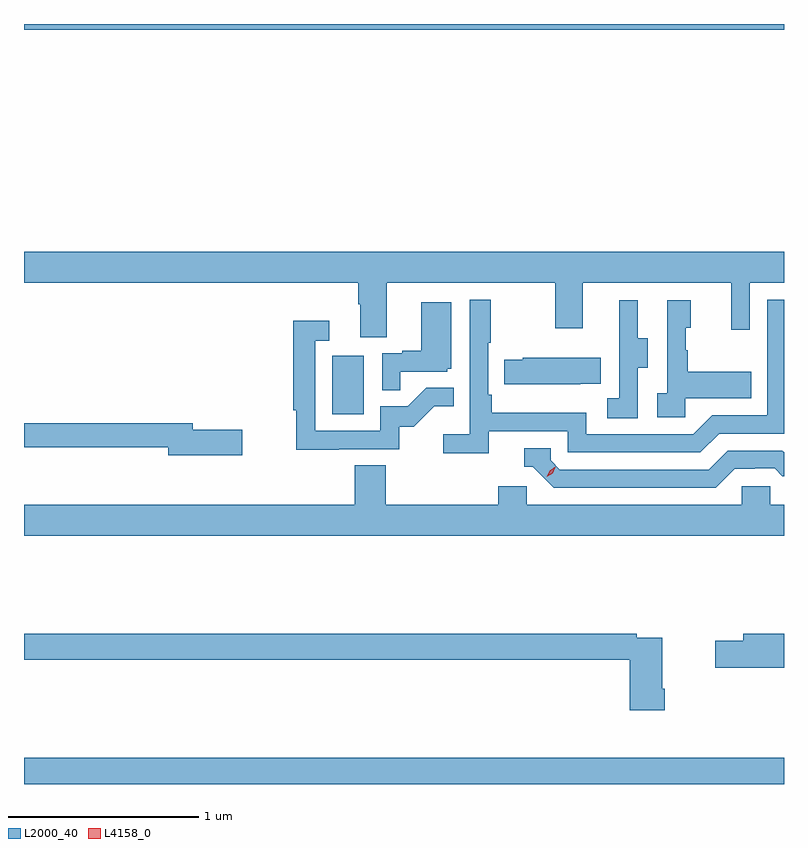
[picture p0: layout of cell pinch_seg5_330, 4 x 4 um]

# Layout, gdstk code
import gdstk
lib = gdstk.Library(unit=1e-6, precision=1e-09)
def R(c, l, rs):  # rectangles x0, y0, x1, y1
    for r in rs: c.add(gdstk.rectangle(r[:2], r[2:], *l))
def P(c, l, *ps):  # polygons
    for p in ps: c.add(gdstk.Polygon(p, *l))
L2000_40 = (2000, 40)
L4158_0 = (4158, 0)

pinch_seg5_330 = lib.new_cell('pinch_seg5_330')
R(pinch_seg5_330, L2000_40, [(921.161,875.434,925.161,875.572), (922.784,877.38,922.948,877.687), (921.161,879.404,925.161,879.434)])
P(pinch_seg5_330, L2000_40, [(923.071,878.072),(923.956,878.072),(923.956,877.833),(924.103,877.833),(924.103,878.072),(924.884,878.072),(924.884,877.824),(924.981,877.824),(924.981,878.072),(925.161,878.072),(925.161,878.236),(921.161,878.236),(921.161,878.072),(922.919,878.072),(922.919,877.96),(922.931,877.96),(922.931,877.786),(923.071,877.786)],
  [(923.606,877.29),(924.024,877.29),(924.024,877.179),(924.721,877.179),(924.82,877.278),(925.161,877.278),(925.161,877.983),(925.074,877.983),(925.074,877.374),(924.783,877.374),(924.684,877.275),(924.12,877.275),(924.12,877.387),(923.624,877.387),(923.624,877.483),(923.604,877.483),(923.604,877.756),(923.617,877.756),(923.617,877.984),(923.508,877.984),(923.508,877.276),(923.367,877.276),(923.367,877.174),(923.606,877.174)],
  [(924.642,877.463),(924.989,877.463),(924.989,877.603),(924.655,877.603),(924.655,877.718),(924.645,877.718),(924.645,877.836),(924.67,877.836),(924.67,877.981),(924.546,877.981),(924.546,877.49),(924.495,877.49),(924.495,877.365),(924.642,877.365)],
  [(924.39,877.624),(924.445,877.624),(924.445,877.779),(924.391,877.779),(924.391,877.981),(924.293,877.981),(924.293,877.767),(924.294,877.767),(924.294,877.463),(924.231,877.463),(924.231,877.36),(924.39,877.36)],
  [(923.141,877.605),(923.388,877.605),(923.388,877.62),(923.41,877.62),(923.41,877.969),(923.252,877.969),(923.252,877.714),(923.153,877.714),(923.153,877.701),(923.046,877.701),(923.046,877.507),(923.141,877.507)],
  [(922.817,877.197),(923.136,877.197),(923.136,877.314),(923.212,877.314),(923.319,877.421),(923.423,877.421),(923.423,877.52),(923.279,877.52),(923.181,877.422),(923.037,877.422),(923.037,877.293),(922.695,877.293),(922.695,877.767),(922.768,877.767),(922.768,877.873),(922.579,877.873),(922.579,877.4),(922.594,877.4),(922.594,877.192),(922.817,877.192)],
  [(924.089,877.541),(924.197,877.541),(924.197,877.678),(923.787,877.678),(923.787,877.668),(923.689,877.668),(923.689,877.538),(924.089,877.538)],
  [(922.309,877.298),(922.048,877.298),(922.048,877.334),(921.161,877.334),(921.161,877.206),(921.92,877.206),(921.92,877.163),(922.309,877.163)],
  [(924.901,877.092),(925.008,877.092),(925.008,877.095),(925.111,877.095),(925.153,877.053),(925.161,877.053),(925.161,877.18),(925.153,877.188),(924.864,877.188),(924.765,877.089),(923.982,877.089),(923.934,877.137),(923.934,877.2),(923.795,877.2),(923.795,877.104),(923.838,877.104),(923.949,876.993),(924.802,876.993)],
  [(925.161,876.904),(925.089,876.904),(925.089,877.002),(924.939,877.002),(924.939,876.904),(923.808,876.904),(923.808,877.002),(923.657,877.002),(923.657,876.904),(923.066,876.904),(923.066,877.112),(922.901,877.112),(922.901,876.904),(921.161,876.904),(921.161,876.74),(925.161,876.74)],
  [(925.161,876.224),(924.947,876.224),(924.947,876.188),(924.798,876.188),(924.798,876.046),(925.161,876.046)],
  [(924.533,875.935),(924.52,875.935),(924.52,876.204),(924.386,876.204),(924.386,876.224),(921.161,876.224),(921.161,876.088),(924.35,876.088),(924.35,875.823),(924.533,875.823)])
P(pinch_seg5_330, L4158_0, [(923.913,877.05),(923.913,877.05),(923.928,877.083),(923.958,877.103),(923.958,877.103),(923.958,877.102),(923.943,877.07),(923.913,877.05)])

lib.write_gds('pinch_seg5_330.gds')
